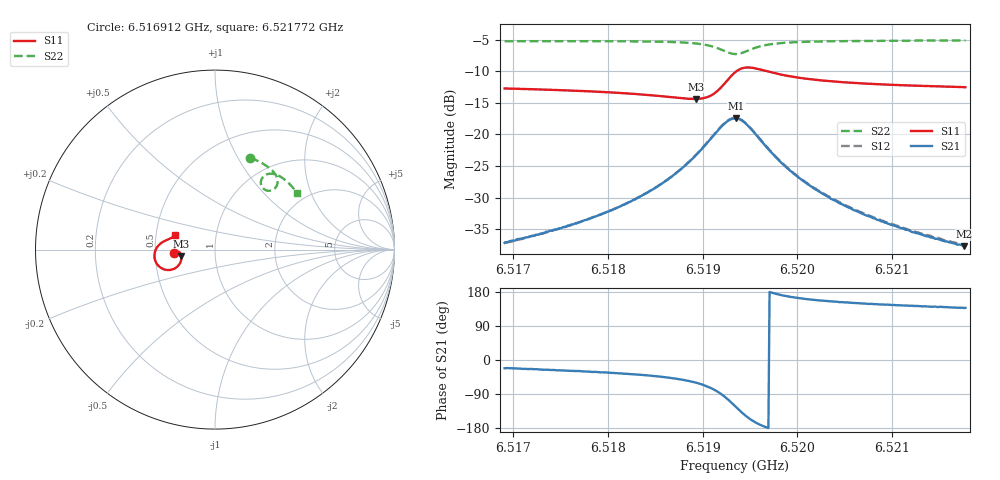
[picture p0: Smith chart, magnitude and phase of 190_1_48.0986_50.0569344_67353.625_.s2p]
#  HZ  S  RI  R  50.00
! Rohde & Schwarz Vector Network Analyzer
! Rohde-Schwarz,ZNB20-2Port,1311601062101988,3.16
! Created: UTC 12/23/2023, 3:53:39 AM
! freq[Hz]  re:S11  im:S11  re:S21  im:S21  re:S12  im:S12  re:S22  im:S22
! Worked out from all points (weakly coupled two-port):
!   401 points, 6.516912 GHz to 6.521772 GHz, reference 50 ohm
!   highest |S21| = -17.44 dB at 6.519354 GHz (marker M1); lowest = -37.7 dB at 6.52176 GHz (marker M2)
!   lowest |S11| = -14.4 dB at 6.518929 GHz (marker M3), VSWR 1.47, Z = 34.1 - j2.6 ohm
!   |S11| at or under -10 dB: start of sweep to 6.519355 GHz; 6.519685 GHz to end of sweep
!   |S22| runs from -7.3 to -5.1 dB; largest |S21 - S12| = 0.0042
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6.5169123e9  -0.2309 -0.0187  0.0129 -0.00512  0.0131 -0.00457  0.197 0.5115
6.5172889e9  -0.2269 -0.013  0.0148 -0.00699  0.015 -0.00637  0.2248 0.5003
6.5177262e9  -0.221 -0.00766  0.0178 -0.0102  0.0181 -0.00956  0.2573 0.4844
6.5181515e9  -0.2128 -0.00529  0.0223 -0.016  0.0228 -0.0152  0.2891 0.4652
6.5185402e9  -0.2018 -0.00953  0.0286 -0.0272  0.0294 -0.0264  0.3192 0.4406
6.5187468e9  -0.194 -0.0185  0.0328 -0.0395  0.034 -0.0385  0.335 0.4214
6.518929e9  -0.1877 -0.0367  0.0343 -0.0592  0.0364 -0.0584  0.3468 0.3963
6.5190383e9  -0.1882 -0.0566  0.0306 -0.0782  0.0332 -0.0778  0.3487 0.3747
6.5191234e9  -0.1963 -0.0783  0.0199 -0.0978  0.0231 -0.0978  0.3431 0.3545
6.519257e9  -0.2419 -0.1118  -0.0261 -0.1239  -0.0225 -0.1256  0.3084 0.3284
6.5193421e9  -0.2918 -0.107  -0.0702 -0.1144  -0.0675 -0.1173  0.2746 0.3359
6.5193542e9  -0.2985 -0.1033  -0.076 -0.1107  -0.0734 -0.1136  0.2705 0.3392
6.5194635e9  -0.3356 -0.0522  -0.1033 -0.0621  -0.1022 -0.0656  0.2557 0.3791
6.5195607e9  -0.3335 -0.00919  -0.0968 -0.0255  -0.0968 -0.0287  0.2695 0.4067
6.5196701e9  -0.3177 0.0198  -0.0799 -0.00357  -0.0806 -0.00589  0.2919 0.4204
6.5199009e9  -0.2876 0.0445  -0.0523 0.0113  -0.0531 0.0099  0.3304 0.4207
6.520156e9  -0.2675 0.054  -0.0357 0.0137  -0.0364 0.0126  0.3593 0.409
6.5205205e9  -0.2511 0.0611  -0.0235 0.0127  -0.0243 0.0122  0.3893 0.3888
6.52097e9  -0.2386 0.0677  -0.0161 0.0111  -0.0166 0.0108  0.418 0.3623
6.5213831e9  -0.2302 0.0735  -0.0121 0.00977  -0.0126 0.00963  0.4406 0.3373
6.5217597e9  -0.2239 0.0785  -0.00953 0.00889  -0.0101 0.00872  0.459 0.3139
6.5217718e9  -0.2236 0.0788  -0.00968 0.0088  -0.01 0.00865  0.4596 0.3131
